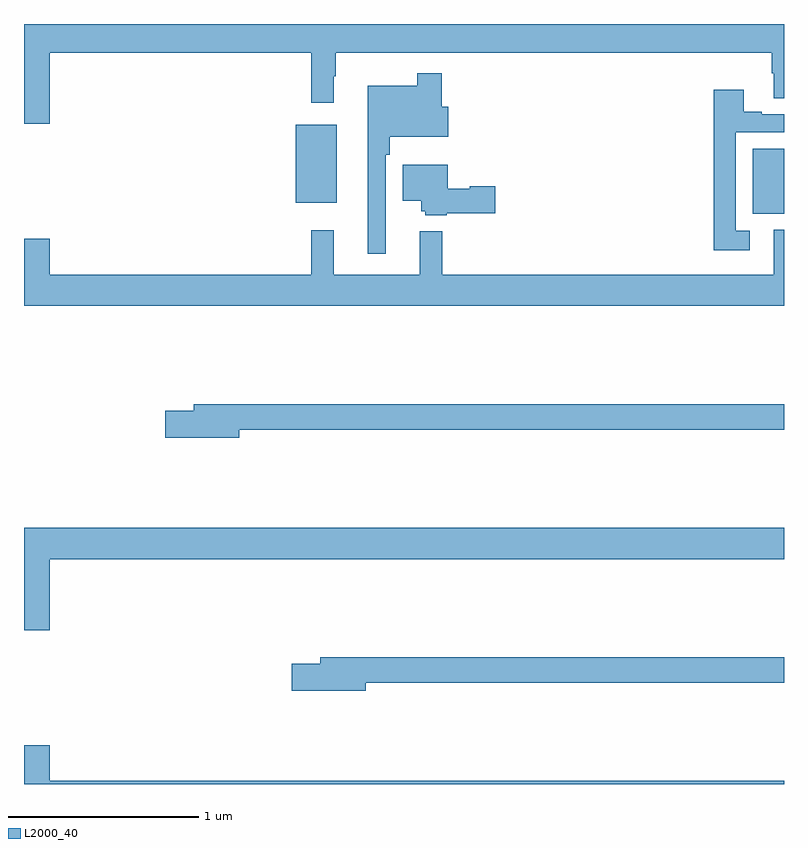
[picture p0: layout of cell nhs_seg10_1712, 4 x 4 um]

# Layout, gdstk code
import gdstk
lib = gdstk.Library(unit=1e-6, precision=1e-09)
def R(c, l, rs):  # rectangles x0, y0, x1, y1
    for r in rs: c.add(gdstk.rectangle(r[:2], r[2:], *l))
def P(c, l, *ps):  # polygons
    for p in ps: c.add(gdstk.Polygon(p, *l))
L2000_40 = (2000, 40)

nhs_seg10_1712 = lib.new_cell('nhs_seg10_1712')
R(nhs_seg10_1712, L2000_40, [(204.836,1267.501,205,1267.844), (202.43,1267.559,202.645,1267.969)])
P(nhs_seg10_1712, L2000_40, [(201.136,1268.348),(202.513,1268.348),(202.513,1268.085),(202.63,1268.085),(202.63,1268.225),(202.642,1268.225),(202.642,1268.348),(204.935,1268.348),(204.935,1268.242),(204.947,1268.242),(204.947,1268.11),(205,1268.11),(205,1268.5),(201,1268.5),(201,1267.974),(201.136,1267.974)],
  [(202.905,1267.811),(202.925,1267.811),(202.925,1267.907),(203.233,1267.907),(203.233,1268.065),(203.198,1268.065),(203.198,1268.242),(203.07,1268.242),(203.07,1268.176),(202.808,1268.176),(202.808,1267.29),(202.905,1267.29)],
  [(204.82,1267.413),(204.747,1267.413),(204.747,1267.929),(205,1267.929),(205,1268.025),(204.883,1268.025),(204.883,1268.038),(204.787,1268.038),(204.787,1268.155),(204.631,1268.155),(204.631,1267.308),(204.82,1267.308)],
  [(203.226,1267.504),(203.479,1267.504),(203.479,1267.646),(203.346,1267.646),(203.346,1267.633),(203.23,1267.633),(203.23,1267.759),(202.994,1267.759),(202.994,1267.571),(203.09,1267.571),(203.09,1267.515),(203.112,1267.515),(203.112,1267.493),(203.226,1267.493)],
  [(205,1267.416),(204.947,1267.416),(204.947,1267.18),(203.201,1267.18),(203.201,1267.408),(203.084,1267.408),(203.084,1267.18),(202.631,1267.18),(202.631,1267.414),(202.513,1267.414),(202.513,1267.18),(201.136,1267.18),(201.136,1267.369),(201,1267.369),(201,1267.016),(205,1267.016)],
  [(202.132,1266.364),(205,1266.364),(205,1266.5),(201.893,1266.5),(201.893,1266.464),(201.744,1266.464),(201.744,1266.322),(202.132,1266.322)],
  [(201.136,1265.684),(205,1265.684),(205,1265.848),(201,1265.848),(201,1265.31),(201.136,1265.31)],
  [(202.798,1265.032),(205,1265.032),(205,1265.168),(202.559,1265.168),(202.559,1265.132),(202.41,1265.132),(202.41,1264.99),(202.798,1264.99)],
  [(205,1264.516),(201.136,1264.516),(201.136,1264.705),(201,1264.705),(201,1264.5),(205,1264.5)])

lib.write_gds('nhs_seg10_1712.gds')
